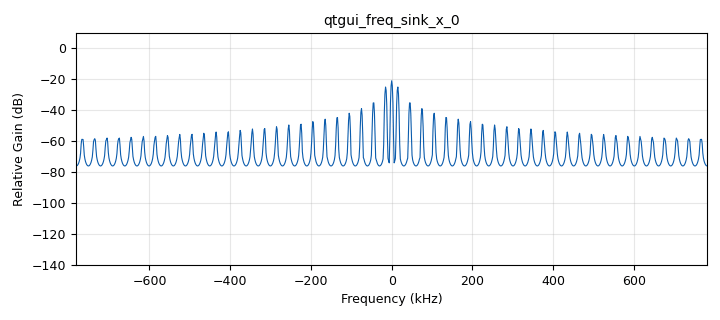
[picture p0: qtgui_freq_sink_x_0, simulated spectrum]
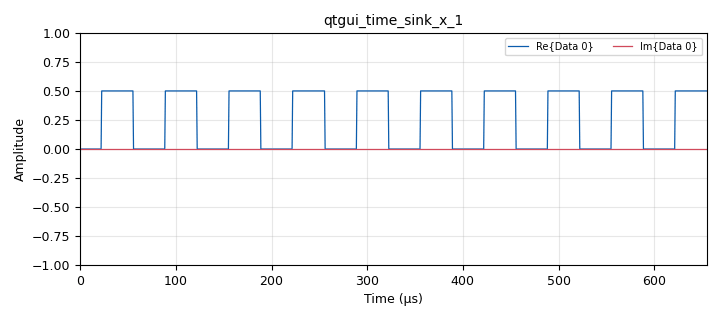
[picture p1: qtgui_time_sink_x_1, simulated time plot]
options:
  parameters:
    author: G6_H1
    copyright: UIS
    description: Modulaciones ASK en GNURadio
    generate_options: qt_gui
    id: Practica2_labComu2_G6
    output_language: python
    title: Modulaciones_ASK
  states: {}

blocks:
- name: Ac
  id: variable_qtgui_range
  parameters:
    label: Amplitud de Portadora
    start: '0'
    step: '0.1'
    stop: '2'
    value: '1'
  states: {}
- name: GRX
  id: variable_qtgui_range
  parameters:
    label: Ganacia del RX
    start: '0'
    step: '1'
    stop: '100'
    value: '50'
  states: {}
- name: GTX
  id: variable_qtgui_range
  parameters:
    label: Ganancia del TX
    start: '0'
    step: '1'
    stop: '30'
    value: '0'
  states: {}
- name: dc
  id: variable_qtgui_range
  parameters:
    label: dc
    start: '0'
    step: '0.1'
    stop: '2'
    value: '0'
  states: {}
- name: fc
  id: variable_qtgui_range
  parameters:
    label: Frecuencia de Portadora
    start: 50e6
    step: 1e6
    stop: 2.2e9
    value: 50e6
  states: {}
- name: ka
  id: variable_qtgui_range
  parameters:
    label: Coeficiente de Estabilidad Ka
    start: '0'
    step: '0.1'
    stop: '1'
    value: '1'
  states: {}
- name: samp_rate
  id: variable
  parameters:
    value: 15625e2
  states: {}
- name: analog_sig_source_x_0
  id: analog_sig_source_x
  parameters:
    amp: '0.5'
    freq: '15000'
    offset: '0'
    phase: '0'
    samp_rate: samp_rate
    type: float
    waveform: analog.GR_SQR_WAVE
  states: {}
- name: blocks_add_const_vxx_0
  id: blocks_add_const_vxx
  parameters:
    const: dc
    type: float
  states: {}
- name: blocks_float_to_complex_0
  id: blocks_float_to_complex
  parameters: {}
  states: {}
- name: blocks_multiply_const_vxx_0
  id: blocks_multiply_const_vxx
  parameters:
    const: ka
    type: float
  states: {}
- name: blocks_multiply_const_vxx_1
  id: blocks_multiply_const_vxx
  parameters:
    const: '1'
    type: complex
  states: {}
- name: blocks_null_source_0
  id: blocks_null_source
  parameters:
    type: float
  states: {}
- name: qtgui_freq_sink_x_0
  id: qtgui_freq_sink_x
  parameters:
    bw: samp_rate
    fc: '0'
    fftsize: '1024'
    type: complex
  states: {}
- name: qtgui_time_sink_x_1
  id: qtgui_time_sink_x
  parameters:
    size: '1024'
    srate: samp_rate
    type: complex
  states: {}
- name: uhd_usrp_sink_0
  id: uhd_usrp_sink
  parameters:
    ant0: TX/RX
    center_freq0: fc
    dev_args: '""'
    gain0: GTX
    len_tag_name: ''
    samp_rate: samp_rate
    sync: pc_clock
    type: fc32
  states: {}

connections:
- [analog_sig_source_x_0, '0', blocks_multiply_const_vxx_0, '0']
- [blocks_add_const_vxx_0, '0', blocks_float_to_complex_0, '0']
- [blocks_float_to_complex_0, '0', blocks_multiply_const_vxx_1, '0']
- [blocks_multiply_const_vxx_0, '0', blocks_add_const_vxx_0, '0']
- [blocks_multiply_const_vxx_1, '0', qtgui_freq_sink_x_0, '0']
- [blocks_multiply_const_vxx_1, '0', qtgui_time_sink_x_1, '0']
- [blocks_multiply_const_vxx_1, '0', uhd_usrp_sink_0, '0']
- [blocks_null_source_0, '0', blocks_float_to_complex_0, '1']

metadata:
  file_format: 1
